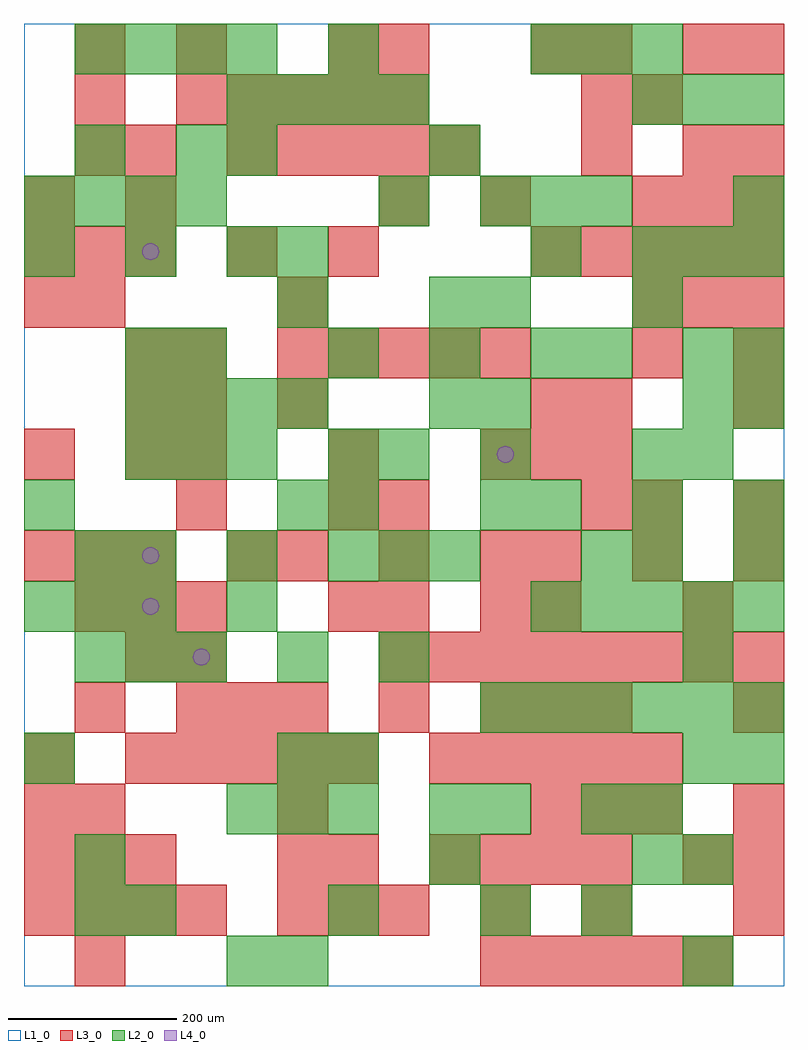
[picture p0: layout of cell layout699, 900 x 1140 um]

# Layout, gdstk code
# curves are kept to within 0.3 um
import gdstk
lib = gdstk.Library(unit=1e-6, precision=1e-09)
def R(c, l, rs):  # rectangles x0, y0, x1, y1
    for r in rs: c.add(gdstk.rectangle(r[:2], r[2:], *l))
def A(c, l, x, y, w, h, nx, ny, dx, dy):  # array of equal rectangles
    R(c, l, [(x+i*dx, y+j*dy, x+i*dx+w, y+j*dy+h) for i in range(nx) for j in range(ny)])
def P(c, l, *ps):  # polygons
    for p in ps: c.add(gdstk.Polygon(p, *l))
L1_0 = (1, 0)
L2_0 = (2, 0)
L3_0 = (3, 0)
L4_0 = (4, 0)

layout699 = lib.new_cell('layout699')
R(layout699, L1_0, [(0,0,900,1140)])
A(layout699, L2_0, 780, 0, 60, 60, 1, 4, 0, 120)
A(layout699, L2_0, 240, 180, 60, 60, 3, 1, 60, 0)
A(layout699, L2_0, 540, 300, 60, 60, 6, 1, 60, 0)
A(layout699, L2_0, 60, 360, 60, 60, 3, 1, 60, 0)
A(layout699, L2_0, 420, 360, 60, 60, 1, 3, 0, 120)
A(layout699, L2_0, 0, 420, 60, 60, 3, 1, 60, 0)
A(layout699, L2_0, 600, 420, 60, 60, 5, 1, 60, 0)
A(layout699, L2_0, 120, 480, 60, 60, 3, 1, 120, 0)
A(layout699, L2_0, 540, 540, 60, 60, 1, 3, 0, 60)
A(layout699, L2_0, 600, 540, 60, 60, 3, 1, 120, 0)
A(layout699, L2_0, 120, 600, 60, 60, 3, 1, 60, 0)
A(layout699, L2_0, 780, 600, 60, 60, 1, 3, 0, 60)
A(layout699, L2_0, 120, 660, 60, 60, 4, 1, 60, 0)
A(layout699, L2_0, 360, 720, 60, 60, 3, 1, 120, 0)
A(layout699, L2_0, 0, 840, 60, 60, 3, 1, 120, 0)
A(layout699, L2_0, 720, 840, 60, 60, 3, 2, 60, 180)
A(layout699, L2_0, 0, 900, 60, 60, 4, 1, 60, 0)
A(layout699, L2_0, 540, 900, 60, 60, 3, 1, 60, 0)
A(layout699, L2_0, 240, 1020, 60, 60, 4, 1, 60, 0)
A(layout699, L2_0, 60, 1080, 60, 60, 4, 1, 60, 0)
A(layout699, L2_0, 600, 1080, 60, 60, 3, 1, 60, 0)
R(layout699, L2_0, [(240,0,300,60), (300,0,360,60), (60,60,120,120), (120,60,180,120), (360,60,420,120), (540,60,600,120), (660,60,720,120), (60,120,120,180), (480,120,540,180), (720,120,780,180), (480,180,540,240), (540,180,600,240), (660,180,720,240), (720,180,780,240), (0,240,60,300), (300,240,360,300), (360,240,420,300), (840,240,900,300), (300,360,360,420), (240,420,300,480), (60,480,120,540), (480,480,540,540), (660,480,720,540), (720,480,780,540), (840,480,900,540), (0,540,60,600), (300,540,360,600), (360,540,420,600), (360,600,420,660), (720,600,780,660), (480,660,540,720), (840,660,900,720), (120,720,180,780), (180,720,240,780), (660,720,720,780), (840,720,900,780), (300,780,360,840), (480,780,540,840), (540,780,600,840), (720,780,780,840), (300,840,360,900), (600,840,660,900), (420,900,480,960), (840,900,900,960), (60,960,120,1020), (180,960,240,1020), (240,960,300,1020), (480,960,540,1020), (360,1080,420,1140)])
A(layout699, L3_0, 540, 0, 60, 60, 5, 1, 60, 0)
A(layout699, L3_0, 0, 60, 60, 60, 4, 1, 60, 0)
A(layout699, L3_0, 300, 60, 60, 60, 3, 1, 60, 0)
A(layout699, L3_0, 840, 60, 60, 60, 1, 3, 0, 60)
A(layout699, L3_0, 0, 120, 60, 60, 3, 3, 60, 360)
A(layout699, L3_0, 480, 120, 60, 60, 4, 1, 60, 0)
A(layout699, L3_0, 600, 180, 60, 60, 3, 1, 60, 0)
A(layout699, L3_0, 120, 240, 60, 60, 5, 1, 60, 0)
A(layout699, L3_0, 480, 240, 60, 60, 5, 1, 60, 0)
A(layout699, L3_0, 180, 300, 60, 60, 3, 1, 60, 0)
A(layout699, L3_0, 420, 300, 60, 60, 1, 3, 0, 120)
A(layout699, L3_0, 540, 300, 60, 60, 3, 1, 60, 0)
A(layout699, L3_0, 420, 360, 60, 60, 8, 1, 60, 0)
A(layout699, L3_0, 60, 420, 60, 60, 3, 1, 60, 0)
A(layout699, L3_0, 300, 480, 60, 60, 3, 1, 120, 0)
A(layout699, L3_0, 600, 480, 60, 60, 3, 1, 120, 0)
A(layout699, L3_0, 660, 540, 60, 60, 1, 3, 0, 60)
A(layout699, L3_0, 120, 600, 60, 60, 1, 3, 0, 60)
A(layout699, L3_0, 180, 600, 60, 60, 3, 1, 180, 0)
A(layout699, L3_0, 300, 720, 60, 60, 5, 1, 60, 0)
A(layout699, L3_0, 720, 780, 60, 60, 3, 2, 60, 120)
A(layout699, L3_0, 600, 840, 60, 60, 5, 1, 60, 0)
A(layout699, L3_0, 60, 960, 60, 60, 1, 3, 0, 60)
A(layout699, L3_0, 240, 960, 60, 60, 5, 1, 60, 0)
A(layout699, L3_0, 660, 960, 60, 60, 1, 3, 0, 60)
A(layout699, L3_0, 180, 1020, 60, 60, 5, 1, 60, 0)
R(layout699, L3_0, [(60,0,120,60), (540,60,600,120), (660,60,720,120), (300,120,360,180), (360,120,420,180), (780,120,840,180), (0,180,60,240), (60,180,120,240), (300,180,360,240), (0,240,60,300), (60,300,120,360), (840,300,900,360), (120,360,180,420), (180,360,240,420), (360,420,420,480), (540,420,600,480), (600,420,660,480), (780,420,840,480), (240,480,300,540), (180,540,240,600), (360,540,420,600), (720,540,780,600), (840,540,900,600), (0,600,60,660), (600,600,660,660), (180,660,240,720), (300,660,360,720), (600,660,660,720), (840,660,900,720), (180,720,240,780), (720,720,780,780), (840,720,900,780), (0,780,60,840), (60,780,120,840), (300,780,360,840), (240,840,300,900), (360,840,420,900), (0,900,60,960), (120,900,180,960), (420,900,480,960), (540,900,600,960), (120,960,180,1020), (780,960,840,1020), (840,960,900,1020), (720,1020,780,1080), (180,1080,240,1140), (360,1080,420,1140), (420,1080,480,1140), (600,1080,660,1140), (780,1080,840,1140), (840,1080,900,1140)])
P(layout699, L4_0, [(160,450),(159.239,453.827),(157.071,457.071),(153.827,459.239),(150,460),(146.173,459.239),(142.929,457.071),(140.761,453.827),(140,450),(140.761,446.173),(142.929,442.929),(146.173,440.761),(150,440),(153.827,440.761),(157.071,442.929),(159.239,446.173)],
  [(160,510),(159.239,513.827),(157.071,517.071),(153.827,519.239),(150,520),(146.173,519.239),(142.929,517.071),(140.761,513.827),(140,510),(140.761,506.173),(142.929,502.929),(146.173,500.761),(150,500),(153.827,500.761),(157.071,502.929),(159.239,506.173)],
  [(160,870),(159.239,873.827),(157.071,877.071),(153.827,879.239),(150,880),(146.173,879.239),(142.929,877.071),(140.761,873.827),(140,870),(140.761,866.173),(142.929,862.929),(146.173,860.761),(150,860),(153.827,860.761),(157.071,862.929),(159.239,866.173)],
  [(220,390),(219.239,393.827),(217.071,397.071),(213.827,399.239),(210,400),(206.173,399.239),(202.929,397.071),(200.761,393.827),(200,390),(200.761,386.173),(202.929,382.929),(206.173,380.761),(210,380),(213.827,380.761),(217.071,382.929),(219.239,386.173)],
  [(580,630),(579.239,633.827),(577.071,637.071),(573.827,639.239),(570,640),(566.173,639.239),(562.929,637.071),(560.761,633.827),(560,630),(560.761,626.173),(562.929,622.929),(566.173,620.761),(570,620),(573.827,620.761),(577.071,622.929),(579.239,626.173)])

lib.write_gds('layout699.gds')
